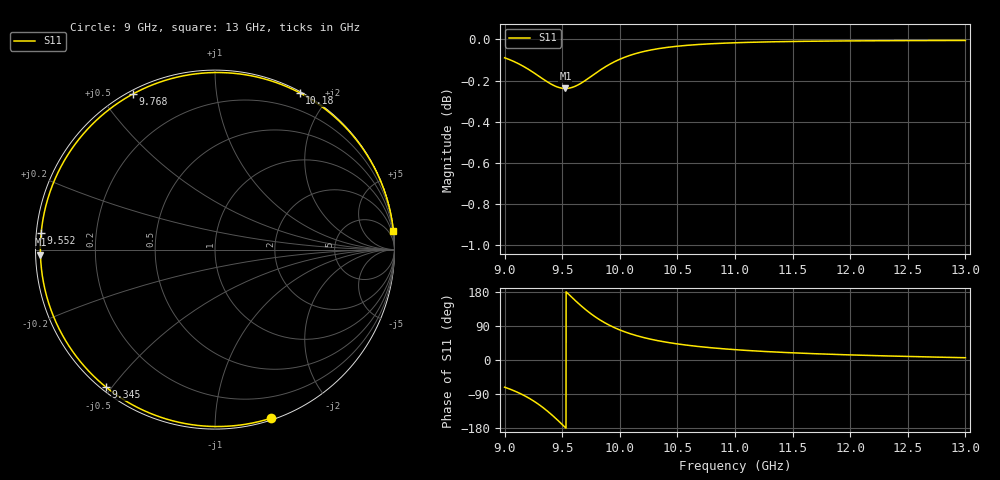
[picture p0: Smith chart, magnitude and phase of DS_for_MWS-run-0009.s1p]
! TOUCHSTONE file generated by CST DESIGN STUDIO
! Date and time: Tue Feb  4 15:56:22 2025
! Project name: C:\Work\MatlabApps\UnitCellOptimizationMatlab\CST\unitcell.cst
! Tree item: Tasks\Sweep1\SPara1\S-Parameters
! Header version: 2024
! Port assignment regex: !\s*Touchstone port\s*([0-9]+)\s*=\s*(CST MWS port|CST DES external port|CST DES block port)\s*(.+)\s* \(\"(.*)\"\)(\s*mode\s*([0-9]+))?.*
! Touchstone port assignment:
! Touchstone port 1 = CST DES external port 1 ("")
# GHz S MA R 50
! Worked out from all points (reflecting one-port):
!   4001 points, 9 GHz to 13 GHz, reference 50 ohm
!   lowest |S11| = -0.2 dB at 9.528 GHz (marker M1), VSWR 72.80, Z = 0.687 - j0.719 ohm
!   phase of S11 starts at -72 deg and turns -282 deg over the sweep
!   S11 on the Smith chart (normalised r, x): 9 GHz: 0.01, -1.38; 9.345 GHz: 0.01, -0.48; 9.552 GHz: 0.01, +0.05; 9.768 GHz: 0.01, +0.60; 10.18 GHz: 0.01, +1.67; 13 GHz: 0, +19
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9  0.9898 -71.7
9.096  0.9872 -83.0
9.203  0.9835 -99.2
9.277  0.9805 -113.2
9.345  0.9776 -128.3
9.418  0.9748 -147.0
9.461  0.9736 -158.9
9.5  0.973 -170.2
9.528  0.9729 -178.4
9.552  0.973 174.6
9.606  0.9739 159.0
9.666  0.9759 142.5
9.717  0.978 129.6
9.768  0.9803 117.9
9.817  0.9824 107.8
9.87  0.9846 98.2
9.93  0.9868 88.7
10  0.9889 79.3
10.084  0.991 70.0
10.176  0.9928 61.7
10.324  0.9947 51.4
10.5  0.9962 42.4
10.721  0.9973 34.4
11  0.9981 27.3
11.5  0.9988 18.9
12  0.9992 13.4
12.5  0.9993 9.3
13  0.9994 6.0
